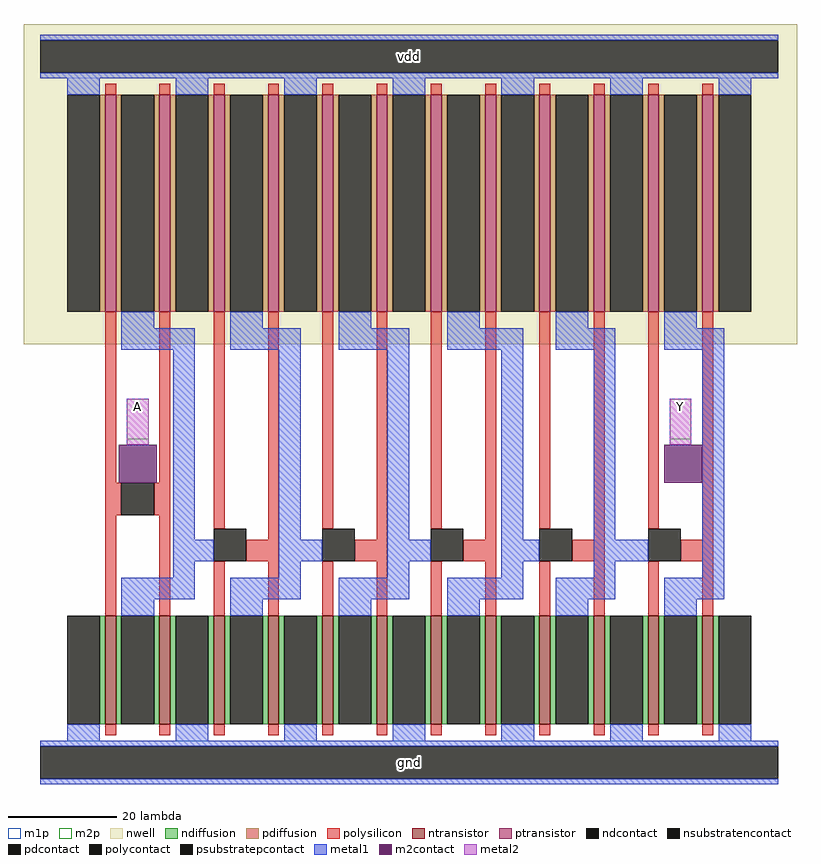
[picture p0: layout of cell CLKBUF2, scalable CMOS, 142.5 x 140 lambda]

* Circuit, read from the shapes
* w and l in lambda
.subckt CLKBUF2 A Y vdd gnd
M1 n1 A gnd gnd nfet w=20 l=2 m=2
M2 n2 n1 gnd gnd nfet w=20 l=2 m=2
M3 n3 n2 gnd gnd nfet w=20 l=2 m=2
M4 n4 n3 gnd gnd nfet w=20 l=2 m=2
M5 n5 n4 gnd gnd nfet w=20 l=2 m=2
M6 Y n5 gnd gnd nfet w=20 l=2 m=2
M7 n1 A vdd vdd pfet w=40 l=2 m=2
M8 n2 n1 vdd vdd pfet w=40 l=2 m=2
M9 n3 n2 vdd vdd pfet w=40 l=2 m=2
M10 n4 n3 vdd vdd pfet w=40 l=2 m=2
M11 n5 n4 vdd vdd pfet w=40 l=2 m=2
M12 Y n5 vdd vdd pfet w=40 l=2 m=2
.ends

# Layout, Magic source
magic
tech scmos
magscale 1 2
<< nwell >>
rect -12 154 273 272
<< ntransistor >>
rect 18 14 22 54
rect 38 14 42 54
rect 58 14 62 54
rect 78 14 82 54
rect 98 14 102 54
rect 118 14 122 54
rect 138 14 142 54
rect 158 14 162 54
rect 178 14 182 54
rect 198 14 202 54
rect 218 14 222 54
rect 238 14 242 54
<< ptransistor >>
rect 18 166 22 246
rect 38 166 42 246
rect 58 166 62 246
rect 78 166 82 246
rect 98 166 102 246
rect 118 166 122 246
rect 138 166 142 246
rect 158 166 162 246
rect 178 166 182 246
rect 198 166 202 246
rect 218 166 222 246
rect 238 166 242 246
<< ndiffusion >>
rect 16 14 18 54
rect 22 14 24 54
rect 36 14 38 54
rect 42 14 44 54
rect 56 14 58 54
rect 62 14 64 54
rect 76 14 78 54
rect 82 14 84 54
rect 96 14 98 54
rect 102 14 104 54
rect 116 14 118 54
rect 122 14 124 54
rect 136 14 138 54
rect 142 14 144 54
rect 156 14 158 54
rect 162 14 164 54
rect 176 14 178 54
rect 182 14 184 54
rect 196 14 198 54
rect 202 14 204 54
rect 216 14 218 54
rect 222 14 224 54
rect 236 14 238 54
rect 242 14 244 54
<< pdiffusion >>
rect 16 166 18 246
rect 22 166 24 246
rect 36 166 38 246
rect 42 166 44 246
rect 56 166 58 246
rect 62 166 64 246
rect 76 166 78 246
rect 82 166 84 246
rect 96 166 98 246
rect 102 166 104 246
rect 116 166 118 246
rect 122 166 124 246
rect 136 166 138 246
rect 142 166 144 246
rect 156 166 158 246
rect 162 166 164 246
rect 176 166 178 246
rect 182 166 184 246
rect 196 166 198 246
rect 202 166 204 246
rect 216 166 218 246
rect 222 166 224 246
rect 236 166 238 246
rect 242 166 244 246
<< ndcontact >>
rect 4 14 16 54
rect 24 14 36 54
rect 44 14 56 54
rect 64 14 76 54
rect 84 14 96 54
rect 104 14 116 54
rect 124 14 136 54
rect 144 14 156 54
rect 164 14 176 54
rect 184 14 196 54
rect 204 14 216 54
rect 224 14 236 54
rect 244 14 256 54
<< pdcontact >>
rect 4 166 16 246
rect 24 166 36 246
rect 44 166 56 246
rect 64 166 76 246
rect 84 166 96 246
rect 104 166 116 246
rect 124 166 136 246
rect 144 166 156 246
rect 164 166 176 246
rect 184 166 196 246
rect 204 166 216 246
rect 224 166 236 246
rect 244 166 256 246
<< psubstratepcontact >>
rect -6 -6 266 6
<< nsubstratencontact >>
rect -6 254 266 266
<< polysilicon >>
rect 18 246 22 250
rect 38 246 42 250
rect 58 246 62 250
rect 78 246 82 250
rect 98 246 102 250
rect 118 246 122 250
rect 138 246 142 250
rect 158 246 162 250
rect 178 246 182 250
rect 198 246 202 250
rect 218 246 222 250
rect 238 246 242 250
rect 18 103 22 166
rect 38 103 42 166
rect 18 91 24 103
rect 36 91 42 103
rect 18 54 22 91
rect 38 54 42 91
rect 58 86 62 166
rect 78 82 82 166
rect 70 74 82 82
rect 58 54 62 74
rect 78 54 82 74
rect 98 86 102 166
rect 118 82 122 166
rect 110 74 122 82
rect 98 54 102 74
rect 118 54 122 74
rect 138 86 142 166
rect 158 82 162 166
rect 150 74 162 82
rect 138 54 142 74
rect 158 54 162 74
rect 178 86 182 166
rect 198 82 202 166
rect 190 74 202 82
rect 178 54 182 74
rect 198 54 202 74
rect 218 86 222 166
rect 238 82 242 166
rect 230 74 242 82
rect 218 54 222 74
rect 238 54 242 74
rect 18 10 22 14
rect 38 10 42 14
rect 58 10 62 14
rect 78 10 82 14
rect 98 10 102 14
rect 118 10 122 14
rect 138 10 142 14
rect 158 10 162 14
rect 178 10 182 14
rect 198 10 202 14
rect 218 10 222 14
rect 238 10 242 14
<< polycontact >>
rect 24 91 36 103
rect 58 74 70 86
rect 98 74 110 86
rect 138 74 150 86
rect 178 74 190 86
rect 218 74 230 86
<< metal1 >>
rect -6 266 266 268
rect -6 252 266 254
rect 4 246 16 252
rect 44 246 56 252
rect 84 246 96 252
rect 124 246 136 252
rect 164 246 176 252
rect 204 246 216 252
rect 244 246 256 252
rect 24 160 36 166
rect 64 160 76 166
rect 104 160 116 166
rect 144 160 156 166
rect 184 160 196 166
rect 224 160 236 166
rect 24 152 51 160
rect 64 152 90 160
rect 104 152 130 160
rect 144 152 172 160
rect 184 152 206 160
rect 224 152 246 160
rect 43 82 51 152
rect 43 74 58 82
rect 82 82 90 152
rect 82 74 98 82
rect 122 82 130 152
rect 122 74 138 82
rect 164 82 172 152
rect 164 74 178 82
rect 198 82 206 152
rect 198 74 218 82
rect 43 68 51 74
rect 82 68 90 74
rect 122 68 130 74
rect 164 68 172 74
rect 198 68 206 74
rect 238 68 246 152
rect 24 60 51 68
rect 64 60 90 68
rect 104 60 130 68
rect 144 60 172 68
rect 184 60 206 68
rect 224 60 246 68
rect 24 54 36 60
rect 64 54 76 60
rect 104 54 116 60
rect 144 54 156 60
rect 184 54 196 60
rect 224 54 236 60
rect 4 8 16 14
rect 44 8 56 14
rect 84 8 96 14
rect 124 8 136 14
rect 164 8 176 14
rect 204 8 216 14
rect 244 8 256 14
rect -6 6 266 8
rect -6 -8 266 -6
<< m2contact >>
rect 23 103 37 117
rect 224 103 238 117
<< metal2 >>
rect 26 117 34 134
rect 226 117 234 134
<< m1p >>
rect -6 252 266 268
rect -6 -8 266 8
<< m2p >>
rect 26 119 34 134
rect 226 119 234 134
<< labels >>
rlabel metal2 30 131 30 131 3 A
port 1 n signal input
rlabel metal2 230 131 230 131 7 Y
port 2 n signal output
rlabel metal1 -6 252 266 268 0 vdd
port 3 nsew power bidirectional abutment
rlabel metal1 -6 -8 266 8 0 gnd
port 4 nsew ground bidirectional abutment
<< properties >>
string FIXED_BBOX 0 0 260 260
string LEFclass CORE
string LEFsite core
string LEFsymmetry X Y
<< end >>
